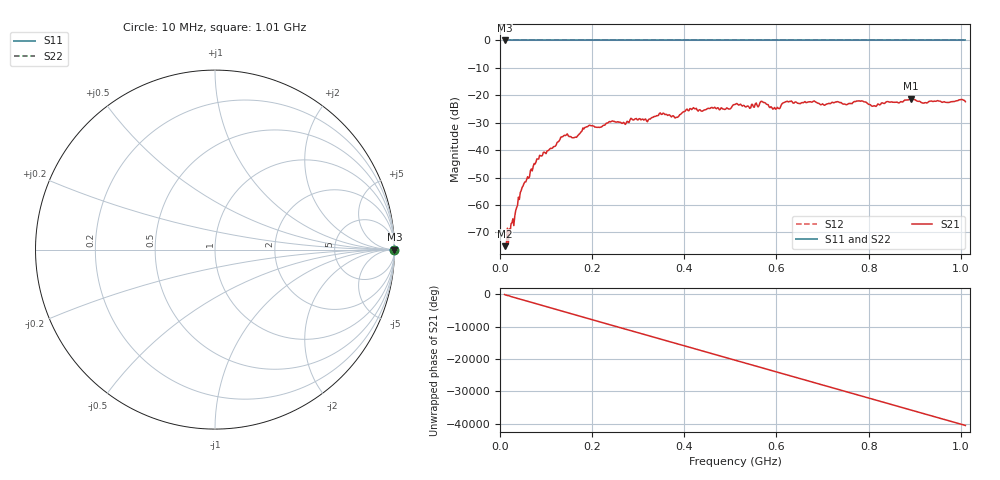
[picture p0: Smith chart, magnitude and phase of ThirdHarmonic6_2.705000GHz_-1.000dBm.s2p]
! 8/17/2025 6:30:13 AM
! C:\ANRITSUVNA\TEMP\TEMP.S2P
! CHANNEL.1
! TR.MEASUREMENT
! RAW.DATA
! RF.CORRECTION.OFF
! AVERAGING.OFF
! IF.BANDWIDTH: 5KHZ
! SWEEPTYPE:  FREQ.SWEEP(Linear)
! Reference Plane Port Info
! PORT:  PORT1  PORT2
! DISTANCE:  0  m  0  m
! TIME:  0  s  0  s
! PHASE.OFFSET:  0  deg.  0  deg.
! LOSS:  0  dB  0  dB
! REF.LOSS:  0  dB  0  dB
! REF.FREQ:  0  Hz  0  Hz
! Power Info
! POWER:  -20  dBm  -20  dBm
! EFF.POWER:  -20  dBm  -20  dBm
! SOURCE.ATTEN:  0  dB  0  dB
! TEST.ATTEN:  0  dB  0  dB
# GHZ S RI R 50.0
! FREQ.GHZ  S11RE  S11IM  S21RE  S21IM  S12RE  S12IM  S22RE  S22IM
!; PortSelection: Port_12
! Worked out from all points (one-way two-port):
!   501 points, 10 MHz to 1.01 GHz, reference 50 ohm
!   highest |S21| = -21.20 dB at 892 MHz (marker M1); lowest = -75.0 dB at 10 MHz (marker M2)
!   lowest |S11| = 0.0 dB at 10 MHz (marker M3)
!   |S11| at or under -10 dB: nowhere
!   |S22| runs from 0.0 to 0.0 dB; largest |S21 - S12| = 1.1
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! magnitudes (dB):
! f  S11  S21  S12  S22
! 10 MHz  0.0  -75.0  0.0  0.0
! 34 MHz  0.0  -62.1  0.0  0.0
! 48 MHz  0.0  -53.6  0.0  0.0
! 78 MHz  0.0  -44.4  0.0  0.0
! 136 MHz  0.0  -35.1  0.0  0.0
! 162 MHz  0.0  -35.4  0.0  0.0
! 178 MHz  0.0  -33.0  0.0  0.0
! 344 MHz  0.0  -27.3  0.0  0.0
! 384 MHz  0.0  -28.0  0.0  0.0
! 416 MHz  0.0  -25.2  0.0  0.0
! 498 MHz  0.0  -25.0  0.0  0.0
! 510 MHz  0.0  -23.4  0.0  0.0
! 540 MHz  0.0  -24.2  0.0  0.0
! 570 MHz  0.0  -22.4  0.0  0.0
! 596 MHz  0.0  -24.4  0.0  0.0
! 620 MHz  0.0  -22.4  0.0  0.0
! 678 MHz  0.0  -22.4  0.0  0.0
! 782 MHz  0.0  -22.2  0.0  0.0
! 812 MHz  0.0  -23.8  0.0  0.0
! 844 MHz  0.0  -22.4  0.0  0.0
! 892 MHz  0.0  -21.2  0.0  0.0
! 1.01 GHz  0.0  -22.3  0.0  0.0
